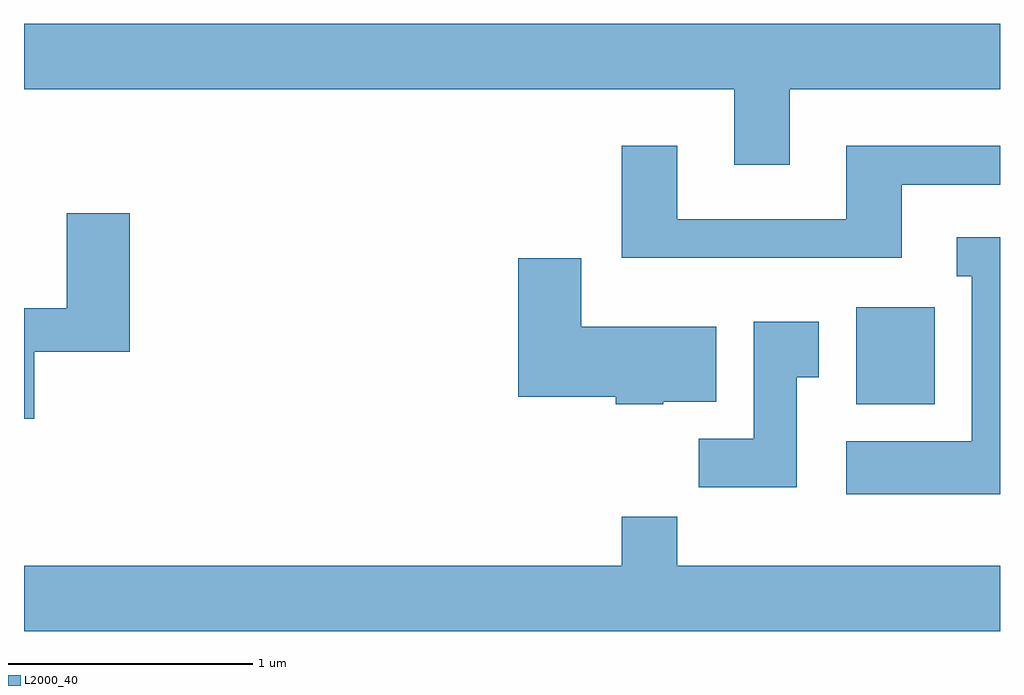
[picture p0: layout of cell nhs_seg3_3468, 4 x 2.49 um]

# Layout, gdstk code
import gdstk
lib = gdstk.Library(unit=1e-6, precision=1e-09)
def R(c, l, rs):  # rectangles x0, y0, x1, y1
    for r in rs: c.add(gdstk.rectangle(r[:2], r[2:], *l))
def P(c, l, *ps):  # polygons
    for p in ps: c.add(gdstk.Polygon(p, *l))
L2000_40 = (2000, 40)

nhs_seg3_3468 = lib.new_cell('nhs_seg3_3468')
R(nhs_seg3_3468, L2000_40, [(291.021,1118.066,291.344,1118.464)])
P(nhs_seg3_3468, L2000_40, [(290.749,1119.356),(291.611,1119.356),(291.611,1119.624),(287.611,1119.624),(287.611,1119.356),(290.521,1119.356),(290.521,1119.046),(290.749,1119.046)],
  [(291.209,1118.966),(291.611,1118.966),(291.611,1119.124),(290.981,1119.124),(290.981,1118.824),(290.289,1118.824),(290.289,1119.124),(290.061,1119.124),(290.061,1118.666),(291.209,1118.666)],
  [(287.654,1118.281),(288.044,1118.281),(288.044,1118.849),(287.786,1118.849),(287.786,1118.459),(287.611,1118.459),(287.611,1118.006),(287.654,1118.006)],
  [(291.611,1118.749),(291.433,1118.749),(291.433,1118.591),(291.496,1118.591),(291.496,1117.914),(290.981,1117.914),(290.981,1117.696),(291.611,1117.696)],
  [(290.23,1118.076),(290.449,1118.076),(290.449,1118.384),(289.894,1118.384),(289.894,1118.664),(289.636,1118.664),(289.636,1118.096),(290.036,1118.096),(290.036,1118.066),(290.23,1118.066)],
  [(290.779,1118.176),(290.869,1118.176),(290.869,1118.404),(290.601,1118.404),(290.601,1117.924),(290.376,1117.924),(290.376,1117.726),(290.779,1117.726)],
  [(291.611,1117.404),(290.289,1117.404),(290.289,1117.604),(290.061,1117.604),(290.061,1117.404),(287.611,1117.404),(287.611,1117.136),(291.611,1117.136)])

lib.write_gds('nhs_seg3_3468.gds')
